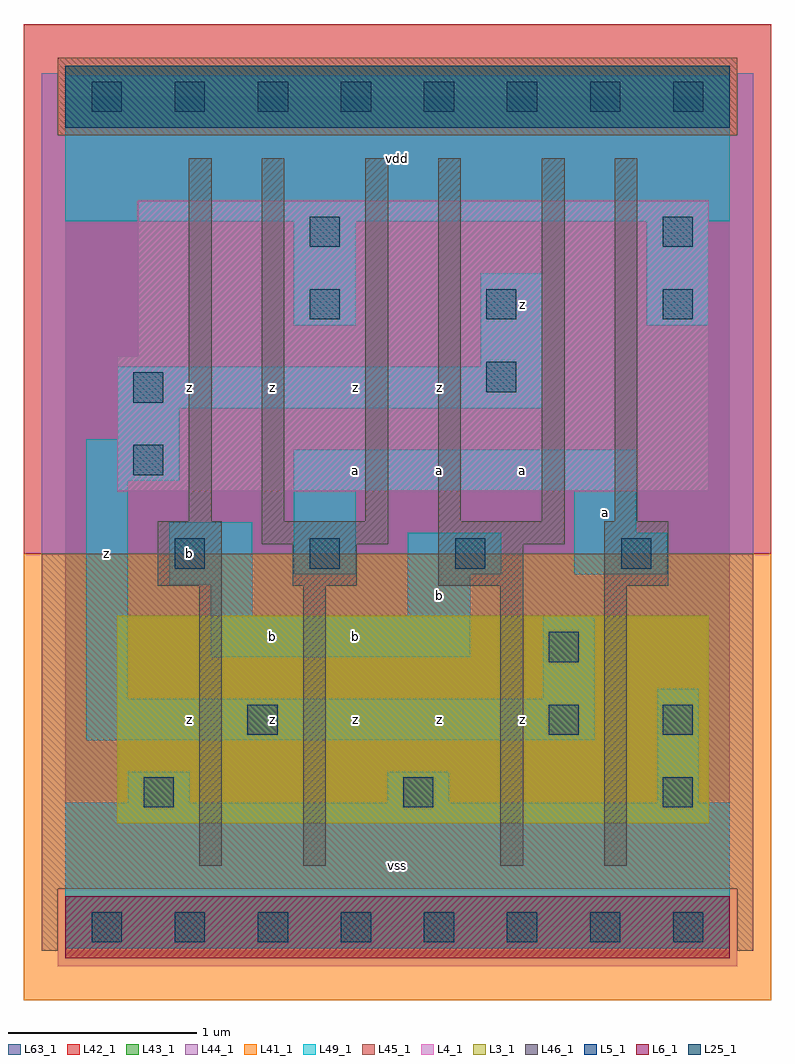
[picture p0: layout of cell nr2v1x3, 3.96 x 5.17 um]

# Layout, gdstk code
import gdstk
lib = gdstk.Library(unit=1e-6, precision=1e-09)
def R(c, l, rs):  # rectangles x0, y0, x1, y1
    for r in rs: c.add(gdstk.rectangle(r[:2], r[2:], *l))
def A(c, l, x, y, w, h, nx, ny, dx, dy):  # array of equal rectangles
    R(c, l, [(x+i*dx, y+j*dy, x+i*dx+w, y+j*dy+h) for i in range(nx) for j in range(ny)])
L3_1 = (3, 1)
L4_1 = (4, 1)
L5_1 = (5, 1)
L6_1 = (6, 1)
L25_1 = (25, 1)
L41_1 = (41, 1)
L42_1 = (42, 1)
L43_1 = (43, 1)
L44_1 = (44, 1)
L45_1 = (45, 1)
L46_1 = (46, 1)
L49_1 = (49, 1)
L63_1 = (63, 1)

nr2v1x3 = lib.new_cell('nr2v1x3')
R(nr2v1x3, L3_1, [(0.275,0.55,3.41,1.65)])
R(nr2v1x3, L4_1, [(0.275,2.31,3.41,3.025), (0.385,3.025,3.41,3.85)])
R(nr2v1x3, L5_1, [(0,4.235,3.52,4.565)])
R(nr2v1x3, L6_1, [(0,-0.165,3.52,0.165)])
A(nr2v1x3, L25_1, 0.14, -0.08, 0.16, 0.16, 8, 2, 0.44, 4.4)
A(nr2v1x3, L25_1, 0.415, 0.635, 0.16, 0.16, 3, 1, 1.375, 0)
A(nr2v1x3, L25_1, 1.295, 3.22, 0.16, 0.16, 3, 1, 0.935, 0)
R(nr2v1x3, L25_1, [(0.965,1.02,1.125,1.18), (2.56,1.02,2.72,1.18), (3.165,1.02,3.325,1.18), (2.56,1.405,2.72,1.565), (0.58,1.9,0.74,2.06), (1.295,1.9,1.455,2.06), (2.065,1.9,2.225,2.06), (2.945,1.9,3.105,2.06), (0.36,2.395,0.52,2.555), (0.36,2.78,0.52,2.94), (2.23,2.835,2.39,2.995), (1.295,3.605,1.455,3.765), (3.165,3.605,3.325,3.765)])
R(nr2v1x3, L41_1, [(-0.22,-0.385,3.74,1.98)])
R(nr2v1x3, L42_1, [(-0.22,1.98,3.74,4.785)])
R(nr2v1x3, L43_1, [(0,-0.165,3.52,0.165), (0.275,0.55,3.41,1.65), (0.275,2.31,3.41,3.025), (0.385,3.025,3.41,3.85), (0,4.235,3.52,4.565)])
R(nr2v1x3, L44_1, [(-0.04,-0.205,3.56,0.205), (-0.125,1.98,3.645,4.195), (-0.125,4.195,-0.04,4.525), (3.56,4.195,3.645,4.525)])
R(nr2v1x3, L45_1, [(-0.125,-0.125,-0.04,0.205), (3.56,-0.125,3.645,0.205), (-0.125,0.205,3.645,1.98), (-0.04,4.195,3.56,4.605)])
R(nr2v1x3, L46_1, [(0.71,0.325,0.83,1.81), (1.26,0.325,1.38,1.81), (2.305,0.325,2.425,1.81), (2.855,0.325,2.975,1.81), (0.49,1.81,0.83,2.15), (1.205,1.81,1.545,2.03), (1.975,1.81,2.425,2.03), (2.855,1.81,3.195,2.15), (1.04,2.03,1.71,2.15), (1.975,2.03,2.645,2.15), (0.655,2.15,0.775,4.075), (1.04,2.15,1.16,4.075), (1.59,2.15,1.71,4.075), (1.975,2.15,2.095,4.075), (2.525,2.15,2.645,4.075), (2.91,2.15,3.03,4.075)])
R(nr2v1x3, L49_1, [(0,-0.11,3.52,0.66), (0.33,0.66,0.66,0.825), (1.705,0.66,2.035,0.825), (3.135,0.66,3.355,1.265), (0.11,0.99,2.805,1.21), (0.11,1.21,0.33,2.365), (2.53,1.21,2.805,1.65), (0.77,1.43,2.145,1.65), (0.77,1.65,0.99,1.815), (1.815,1.65,2.145,1.87), (0.55,1.815,0.99,2.145), (1.21,1.87,1.54,2.31), (1.815,1.87,2.31,2.09), (2.695,1.87,3.19,2.09), (2.695,2.09,3.025,2.31), (1.21,2.31,3.025,2.53), (0.11,2.365,0.605,2.585), (0.275,2.585,0.605,2.75), (0.275,2.75,2.53,2.97), (2.2,2.97,2.53,3.465), (1.21,3.19,1.54,3.74), (3.08,3.19,3.41,3.74), (0,3.74,3.52,4.51)])
R(nr2v1x3, L63_1, [(0,0,3.52,4.4)])
nr2v1x3.add(gdstk.Label('z', (0.22,1.98), layer=49, texttype=1))
nr2v1x3.add(gdstk.Label('z', (0.66,1.1), layer=49, texttype=1))
nr2v1x3.add(gdstk.Label('b', (1.1,1.54), layer=49, texttype=1))
nr2v1x3.add(gdstk.Label('z', (1.1,1.1), layer=49, texttype=1))
nr2v1x3.add(gdstk.Label('b', (0.66,1.98), layer=49, texttype=1))
nr2v1x3.add(gdstk.Label('z', (1.1,2.86), layer=49, texttype=1))
nr2v1x3.add(gdstk.Label('z', (0.66,2.86), layer=49, texttype=1))
nr2v1x3.add(gdstk.Label('vss', (1.76,0.33), layer=49, texttype=1))
nr2v1x3.add(gdstk.Label('b', (1.54,1.54), layer=49, texttype=1))
nr2v1x3.add(gdstk.Label('z', (1.54,1.1), layer=49, texttype=1))
nr2v1x3.add(gdstk.Label('z', (1.98,1.1), layer=49, texttype=1))
nr2v1x3.add(gdstk.Label('b', (1.98,1.76), layer=49, texttype=1))
nr2v1x3.add(gdstk.Label('a', (1.54,2.42), layer=49, texttype=1))
nr2v1x3.add(gdstk.Label('a', (1.98,2.42), layer=49, texttype=1))
nr2v1x3.add(gdstk.Label('z', (1.98,2.86), layer=49, texttype=1))
nr2v1x3.add(gdstk.Label('z', (1.54,2.86), layer=49, texttype=1))
nr2v1x3.add(gdstk.Label('vdd', (1.76,4.07), layer=49, texttype=1))
nr2v1x3.add(gdstk.Label('z', (2.42,1.1), layer=49, texttype=1))
nr2v1x3.add(gdstk.Label('a', (2.42,2.42), layer=49, texttype=1))
nr2v1x3.add(gdstk.Label('z', (2.42,3.3), layer=49, texttype=1))
nr2v1x3.add(gdstk.Label('a', (2.86,2.2), layer=49, texttype=1))

lib.write_gds('nr2v1x3.gds')
